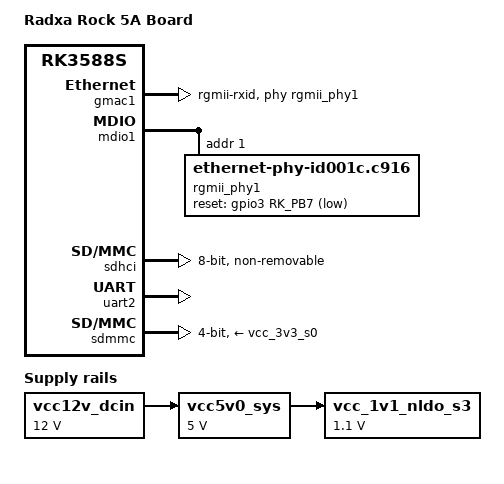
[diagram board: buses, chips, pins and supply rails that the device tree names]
// SPDX-License-Identifier: (GPL-2.0+ OR MIT)

/dts-v1/;

#include <dt-bindings/gpio/gpio.h>
#include <dt-bindings/pinctrl/rockchip.h>
#include "rk3588s.dtsi"
#include "rk3588-rk806-single.dtsi"

/ {
	model = "Radxa Rock 5A Board";
	compatible = "radxa,rock-5a", "rockchip,rk3588s";

	aliases {
		mmc1 = &sdhci;
		serial2 = &uart2;
	};

	chosen {
		stdout-path = "serial2:1500000n8";
	};

	vcc12v_dcin: vcc12v-dcin {
		compatible = "regulator-fixed";
		regulator-name = "vcc12v_dcin";
		regulator-always-on;
		regulator-boot-on;
		regulator-min-microvolt = <12000000>;
		regulator-max-microvolt = <12000000>;
	};

	vcc5v0_sys: vcc5v0-sys {
		compatible = "regulator-fixed";
		regulator-name = "vcc5v0_sys";
		regulator-always-on;
		regulator-boot-on;
		regulator-min-microvolt = <5000000>;
		regulator-max-microvolt = <5000000>;
		vin-supply = <&vcc12v_dcin>;
	};

	vcc_1v1_nldo_s3: vcc-1v1-nldo-s3 {
		compatible = "regulator-fixed";
		regulator-name = "vcc_1v1_nldo_s3";
		regulator-always-on;
		regulator-boot-on;
		regulator-min-microvolt = <1100000>;
		regulator-max-microvolt = <1100000>;
		vin-supply = <&vcc5v0_sys>;
	};
};

&gmac1 {
	clock_in_out = "output";
	phy-handle = <&rgmii_phy1>;
	phy-mode = "rgmii-rxid";
	pinctrl-0 = <&gmac1_miim
		     &gmac1_tx_bus2
		     &gmac1_rx_bus2
		     &gmac1_rgmii_clk
		     &gmac1_rgmii_bus>;
	pinctrl-names = "default";
	tx_delay = <0x3a>;
	status = "okay";
};

&mdio1 {
	rgmii_phy1: ethernet-phy@1 {
		/* RTL8211F */
		compatible = "ethernet-phy-id001c.c916";
		reg = <0x1>;
		pinctrl-names = "default";
		pinctrl-0 = <&rtl8211f_rst>;
		reset-assert-us = <20000>;
		reset-deassert-us = <100000>;
		reset-gpios = <&gpio3 RK_PB7 GPIO_ACTIVE_LOW>;
	};
};

&pinctrl {
	rtl8211f {
		rtl8211f_rst: rtl8211f-rst {
			rockchip,pins = <3 RK_PB7 RK_FUNC_GPIO &pcfg_pull_none>;
		};

	};
};

&sdhci {
	bus-width = <8>;
	no-sdio;
	no-sd;
	non-removable;
	max-frequency = <200000000>;
	mmc-hs400-1_8v;
	mmc-hs400-enhanced-strobe;
	status = "okay";
};

&uart2 {
	pinctrl-0 = <&uart2m0_xfer>;
	status = "okay";
};

&sdmmc {
	max-frequency = <150000000>;
	no-sdio;
	no-mmc;
	bus-width = <4>;
	cap-mmc-highspeed;
	cap-sd-highspeed;
	disable-wp;
	sd-uhs-sdr104;
	vmmc-supply = <&vcc_3v3_s0>;
	vqmmc-supply = <&vccio_sd_s0>;
	pinctrl-names = "default";
	pinctrl-0 = <&sdmmc_bus4 &sdmmc_clk &sdmmc_cmd &sdmmc_det>;
	status = "okay";
};
